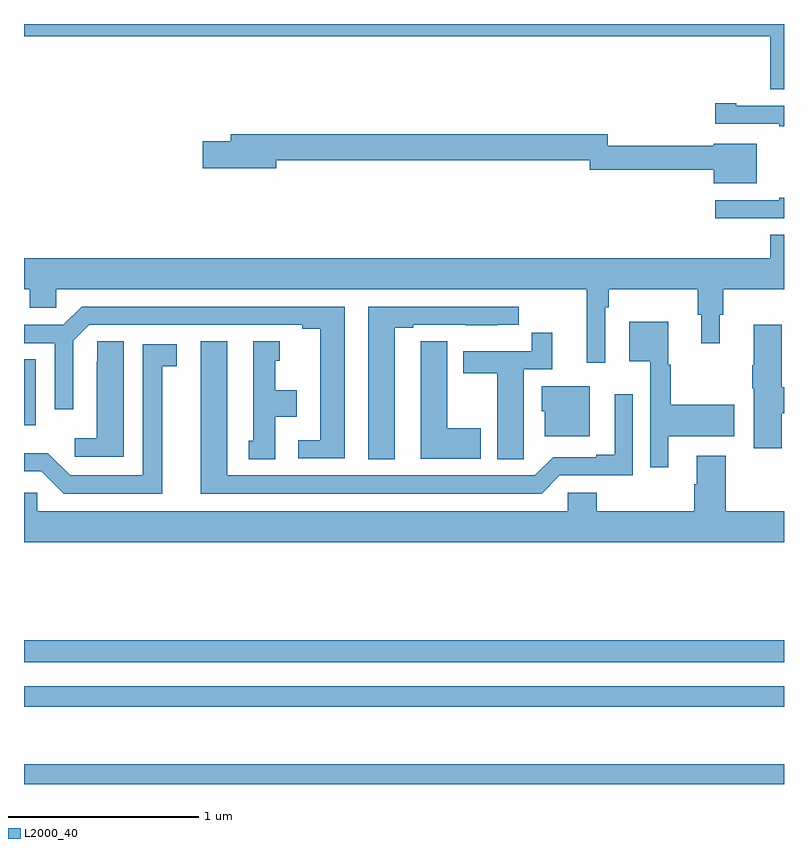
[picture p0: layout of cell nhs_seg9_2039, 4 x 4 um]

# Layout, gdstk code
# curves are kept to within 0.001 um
import gdstk
lib = gdstk.Library(unit=1e-6, precision=1e-09)
def R(c, l, rs):  # rectangles x0, y0, x1, y1
    for r in rs: c.add(gdstk.rectangle(r[:2], r[2:], *l))
def P(c, l, *ps):  # polygons
    for p in ps: c.add(gdstk.Polygon(p, *l))
L2000_40 = (2000, 40)

nhs_seg9_2039 = lib.new_cell('nhs_seg9_2039')
R(nhs_seg9_2039, L2000_40, [(227,1176.5,231,1176.604), (227,1176.906,231,1177.014), (227,1177.14,231,1177.256), (227,1178.387,227.062,1178.735)])
P(nhs_seg9_2039, L2000_40, [(231,1180.5),(227,1180.5),(227,1180.436),(230.927,1180.436),(230.927,1180.156),(231,1180.156)],
  [(231,1180.071),(230.749,1180.071),(230.749,1180.084),(230.637,1180.084),(230.637,1179.975),(230.975,1179.975),(230.975,1179.963),(231,1179.963)],
  [(230.857,1179.871),(230.63,1179.871),(230.63,1179.86),(230.073,1179.86),(230.073,1179.92),(228.089,1179.92),(228.089,1179.884),(227.94,1179.884),(227.94,1179.742),(228.328,1179.742),(228.328,1179.784),(229.977,1179.784),(229.977,1179.732),(230.63,1179.732),(230.63,1179.662),(230.857,1179.662)],
  [(231,1179.586),(230.975,1179.586),(230.975,1179.573),(230.637,1179.573),(230.637,1179.477),(231,1179.477)],
  [(230.058,1179.008),(230.078,1179.008),(230.078,1179.104),(230.545,1179.104),(230.545,1178.97),(230.564,1178.97),(230.564,1178.82),(230.662,1178.82),(230.662,1178.97),(230.681,1178.97),(230.681,1179.104),(231,1179.104),(231,1179.392),(230.927,1179.392),(230.927,1179.268),(227,1179.268),(227,1179.104),(227.031,1179.104),(227.031,1179.006),(227.169,1179.006),(227.169,1179.104),(229.961,1179.104),(229.961,1178.718),(230.058,1178.718)],
  [(228.952,1178.901),(229.048,1178.901),(229.048,1178.916),(229.324,1178.916),(229.324,1178.915),(229.49,1178.915),(229.49,1178.916),(229.603,1178.916),(229.603,1179.012),(228.812,1179.012),(228.812,1178.209),(228.952,1178.209)],
  [(228.688,1179.012),(227.303,1179.012),(227.207,1178.916),(227,1178.916),(227,1178.82),(227.163,1178.82),(227.163,1178.472),(227.259,1178.472),(227.259,1178.832),(227.343,1178.916),(228.464,1178.916),(228.464,1178.896),(228.56,1178.896),(228.56,1178.31),(228.444,1178.31),(228.444,1178.214),(228.688,1178.214)],
  [(230.392,1178.33),(230.737,1178.33),(230.737,1178.496),(230.404,1178.496),(230.404,1178.706),(230.392,1178.706),(230.392,1178.932),(230.186,1178.932),(230.186,1178.726),(230.295,1178.726),(230.295,1178.166),(230.392,1178.166)],
  [(230.987,1178.452),(231,1178.452),(231,1178.588),(230.987,1178.588),(230.987,1178.917),(230.84,1178.917),(230.84,1178.704),(230.833,1178.704),(230.833,1178.584),(230.84,1178.584),(230.84,1178.268),(230.987,1178.268)],
  [(229.629,1178.32),(229.63,1178.32),(229.63,1178.682),(229.781,1178.682),(229.781,1178.875),(229.672,1178.875),(229.672,1178.778),(229.313,1178.778),(229.313,1178.662),(229.49,1178.662),(229.49,1178.209),(229.629,1178.209)],
  [(227.524,1178.831),(227.385,1178.831),(227.385,1178.723),(227.384,1178.723),(227.384,1178.32),(227.268,1178.32),(227.268,1178.223),(227.524,1178.223)],
  [(229.405,1178.373),(229.228,1178.373),(229.228,1178.831),(229.089,1178.831),(229.089,1178.723),(229.088,1178.723),(229.088,1178.213),(229.405,1178.213)],
  [(228.322,1178.432),(228.436,1178.432),(228.436,1178.572),(228.322,1178.572),(228.322,1178.727),(228.346,1178.727),(228.346,1178.83),(228.206,1178.83),(228.206,1178.307),(228.182,1178.307),(228.182,1178.209),(228.322,1178.209)],
  [(229.821,1178.124),(230.205,1178.124),(230.205,1178.551),(230.108,1178.551),(230.108,1178.233),(230.012,1178.233),(230.012,1178.22),(229.785,1178.22),(229.689,1178.124),(228.07,1178.124),(228.07,1178.83),(227.93,1178.83),(227.93,1178.028),(229.725,1178.028)],
  [(227.728,1178.698),(227.803,1178.698),(227.803,1178.814),(227.624,1178.814),(227.624,1178.124),(227.244,1178.124),(227.126,1178.242),(227,1178.241),(227,1178.145),(227.091,1178.145),(227.208,1178.028),(227.728,1178.028)],
  [(229.978,1178.593),(229.724,1178.593),(229.724,1178.463),(229.742,1178.463),(229.742,1178.33),(229.978,1178.33)],
  [(231,1177.936),(230.693,1177.936),(230.693,1178.227),(230.54,1178.227),(230.54,1178.078),(230.528,1178.078),(230.528,1177.936),(230.015,1177.936),(230.015,1178.034),(229.863,1178.034),(229.863,1177.936),(227.07,1177.936),(227.07,1178.034),(227,1178.034),(227,1177.772),(231,1177.772)])

lib.write_gds('nhs_seg9_2039.gds')
